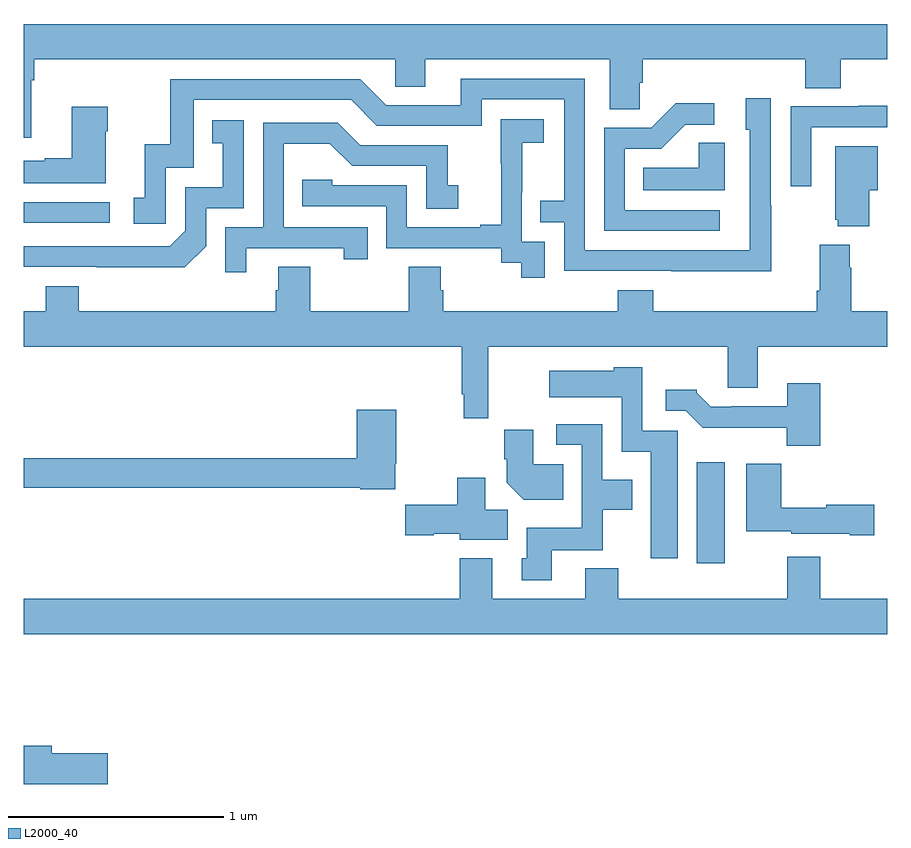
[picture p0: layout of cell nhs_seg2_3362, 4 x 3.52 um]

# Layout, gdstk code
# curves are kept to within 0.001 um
import gdstk
lib = gdstk.Library(unit=1e-6, precision=1e-09)
def R(c, l, rs):  # rectangles x0, y0, x1, y1
    for r in rs: c.add(gdstk.rectangle(r[:2], r[2:], *l))
def P(c, l, *ps):  # polygons
    for p in ps: c.add(gdstk.Polygon(p, *l))
L2000_40 = (2000, 40)

nhs_seg2_3362 = lib.new_cell('nhs_seg2_3362')
R(nhs_seg2_3362, L2000_40, [(290.117,657.288,290.248,657.757), (287,658.866,287.398,658.962)])
P(nhs_seg2_3362, L2000_40, [(287.035,659.528),(287.048,659.528),(287.048,659.624),(288.72,659.624),(288.72,659.497),(288.859,659.497),(288.859,659.624),(289.715,659.624),(289.715,659.392),(289.854,659.392),(289.854,659.515),(289.868,659.515),(289.868,659.624),(290.621,659.624),(290.621,659.491),(290.786,659.491),(290.786,659.624),(291,659.624),(291,659.788),(287,659.788),(287,659.262),(287.035,659.262)],
  [(290.463,658.949),(290.46,658.949),(290.46,659.443),(290.345,659.443),(290.345,659.298),(290.364,659.298),(290.364,658.74),(289.599,658.74),(289.599,659.535),(289.025,659.535),(289.025,659.412),(288.678,659.412),(288.558,659.532),(287.679,659.532),(287.679,659.23),(287.561,659.23),(287.561,658.983),(287.508,658.983),(287.508,658.863),(287.658,658.863),(287.658,659.121),(287.787,659.121),(287.787,659.436),(288.516,659.436),(288.636,659.316),(289.122,659.316),(289.122,659.439),(289.503,659.439),(289.503,658.97),(289.393,658.97),(289.393,658.869),(289.503,658.869),(289.503,658.644),(290.463,658.643)],
  [(290.224,658.926),(289.785,658.926),(289.785,659.211),(289.954,659.211),(290.065,659.322),(290.2,659.322),(290.2,659.42),(290.021,659.42),(289.908,659.307),(289.689,659.307),(289.689,658.83),(290.224,658.83)],
  [(290.649,659.31),(291,659.31),(291,659.408),(290.869,659.408),(290.869,659.406),(290.553,659.406),(290.553,659.037),(290.649,659.037)],
  [(287.38,659.291),(287.388,659.291),(287.388,659.404),(287.222,659.404),(287.222,659.165),(287.096,659.165),(287.096,659.155),(287,659.155),(287,659.051),(287.38,659.051)],
  [(289.413,658.779),(289.308,658.779),(289.308,659.009),(289.31,659.009),(289.31,659.237),(289.408,659.237),(289.408,659.347),(289.21,659.347),(289.21,659.141),(289.211,659.141),(289.211,658.858),(289.115,658.858),(289.115,658.845),(288.774,658.845),(288.774,659.04),(288.429,659.04),(288.429,659.067),(288.289,659.067),(288.289,658.944),(288.678,658.944),(288.678,658.749),(289.212,658.749),(289.212,658.681),(289.305,658.681),(289.305,658.611),(289.413,658.611)],
  [(287.844,658.758),(287.844,658.935),(288.018,658.935),(288.018,659.341),(287.872,659.341),(287.872,659.235),(287.921,659.235),(287.921,659.031),(287.748,659.031),(287.748,658.83),(287.676,658.758),(287,658.758),(287,658.662),(287.746,658.661)],
  [(288.031,658.749),(288.482,658.749),(288.482,658.698),(288.593,658.698),(288.593,658.845),(288.204,658.845),(288.204,659.234),(288.418,659.234),(288.522,659.13),(288.864,659.13),(288.864,658.932),(289.012,658.932),(289.012,659.041),(288.963,659.041),(288.963,659.226),(288.559,659.226),(288.454,659.331),(288.108,659.331),(288.108,658.845),(287.934,658.845),(287.934,658.638),(288.031,658.638)],
  [(290.248,659.237),(290.127,659.237),(290.127,659.122),(289.87,659.122),(289.87,659.018),(290.248,659.018)],
  [(290.917,659.018),(290.956,659.018),(290.956,659.221),(290.759,659.221),(290.759,658.881),(290.771,658.881),(290.771,658.85),(290.917,658.85)],
  [(290.261,658.102),(290.401,658.102),(290.401,658.292),(291,658.292),(291,658.456),(290.835,658.456),(290.835,658.658),(290.827,658.658),(290.827,658.765),(290.687,658.765),(290.687,658.552),(290.675,658.552),(290.675,658.456),(289.916,658.456),(289.916,658.555),(289.751,658.555),(289.751,658.456),(288.944,658.456),(288.944,658.554),(288.931,658.554),(288.931,658.664),(288.784,658.664),(288.784,658.456),(288.327,658.456),(288.327,658.664),(288.179,658.664),(288.179,658.554),(288.167,658.554),(288.167,658.456),(287.255,658.456),(287.255,658.573),(287.102,658.573),(287.102,658.456),(287,658.456),(287,658.292),(289.03,658.292),(289.03,658.072),(289.038,658.072),(289.038,657.96),(289.151,657.96),(289.151,658.292),(290.261,658.292)],
  [(290.029,657.903),(289.866,657.903),(289.866,658.198),(289.734,658.198),(289.734,658.18),(289.434,658.18),(289.434,658.058),(289.77,658.058),(289.77,657.806),(289.904,657.806),(289.904,657.312),(290.029,657.312)],
  [(290.69,658.123),(290.537,658.123),(290.537,658.017),(290.281,658.017),(290.281,658.014),(290.182,658.014),(290.118,658.078),(290.118,658.093),(289.974,658.093),(289.974,657.996),(290.067,657.996),(290.146,657.918),(290.535,657.918),(290.535,657.833),(290.69,657.833)],
  [(288.72,657.751),(288.725,657.751),(288.725,658),(288.542,658),(288.542,657.776),(287,657.776),(287,657.64),(288.558,657.64),(288.558,657.632),(288.72,657.632)],
  [(289.447,657.35),(289.683,657.35),(289.683,657.536),(289.819,657.536),(289.819,657.676),(289.68,657.676),(289.68,657.933),(289.467,657.933),(289.467,657.837),(289.584,657.837),(289.584,657.454),(289.331,657.454),(289.331,657.312),(289.307,657.312),(289.307,657.21),(289.447,657.21)],
  [(289.499,657.748),(289.36,657.748),(289.36,657.907),(289.226,657.907),(289.226,657.772),(289.238,657.772),(289.238,657.662),(289.316,657.584),(289.499,657.584)],
  [(290.941,657.56),(290.718,657.56),(290.718,657.547),(290.51,657.547),(290.51,657.751),(290.348,657.751),(290.348,657.437),(290.556,657.437),(290.556,657.425),(290.828,657.425),(290.828,657.418),(290.941,657.418)],
  [(289.243,657.536),(289.138,657.536),(289.138,657.685),(289.009,657.685),(289.009,657.56),(288.768,657.56),(288.768,657.418),(288.9,657.418),(288.9,657.425),(289.02,657.425),(289.02,657.398),(289.243,657.398)],
  [(291,657.124),(290.69,657.124),(290.69,657.319),(290.537,657.319),(290.537,657.124),(289.754,657.124),(289.754,657.265),(289.601,657.265),(289.601,657.124),(289.171,657.124),(289.171,657.313),(289.019,657.313),(289.019,657.124),(287,657.124),(287,656.96),(291,656.96)],
  [(287.389,656.408),(287.128,656.408),(287.128,656.444),(287,656.444),(287,656.266),(287.389,656.266)])

lib.write_gds('nhs_seg2_3362.gds')
